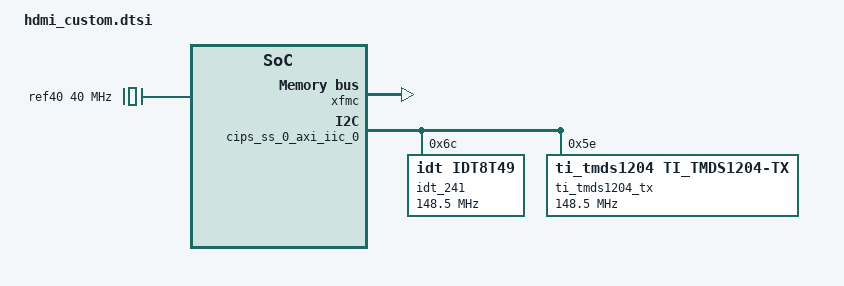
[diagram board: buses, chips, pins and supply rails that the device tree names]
/*Copyright (c) 2026 Advanced Micro Devices, Inc.*/
/*SPDX-License-Identifier: MIT
/* -----------------------------------------------*/
/* System User Device Tree Customizations */

&amba {
    ref40: ref40m {
        compatible = "fixed-clock";
        #clock-cells = <0>;
        clock-frequency = <40000000>;
    };
    
    xfmc: xv_fmc {
        compatible = "vfmc";
    };
    
    cips_ss_0_axi_iic_0 {
        idt_241: clock-generator@6c {
            compatible = "idt,idt8t49";
            #clock-cells = <1>;
            reg = <0x6c>;
            clocks = <&ref40>;
            clock-frequency = <148500000>;
            clock-names = "input-xtal";
        };
        
        ti_tmds1204_tx: ti_tmds1204-tx@5e {
            compatible = "ti_tmds1204,ti_tmds1204-tx";
            #clock-cells = <1>;
            reg = <0x5e>;
            clocks = <&ref40>;
            clock-frequency = <148500000>;
            clock-names = "input-xtal";
        };
    };
    
    hdmiphy_ss_0_hdmi_gt_controller {
        clocks = <&misc_clk_0>, <&misc_clk_0>, <&misc_clk_2>, <&misc_clk_2>, <&misc_clk_3>, <&misc_clk_1>, <&misc_clk_1>, <&misc_clk_1>, <&misc_clk_0>, <&misc_clk_1>, <&misc_clk_0>, <&misc_clk_0>, <&idt_241 1>;
        clock-names = "apb_clk", "axi4lite_aclk", "gt_refclk0_odiv2", "gt_refclk1_odiv2", "gt_refclk5_odiv2", "gt_rxusrclk", "gt_txusrclk", "rx_axi4s_aclk", "sb_aclk", "tx_axi4s_aclk", "vid_phy_axi4lite_aclk", "drpclk", "tmds_clock";
        xlnx,hdmi-connector = <&xfmc>;
    };
};

